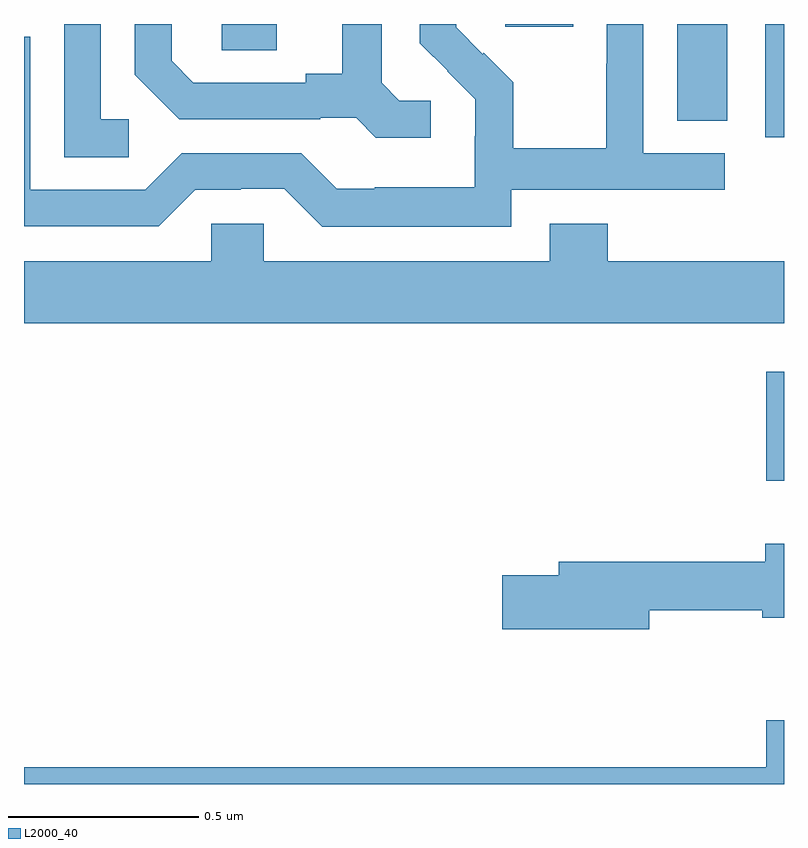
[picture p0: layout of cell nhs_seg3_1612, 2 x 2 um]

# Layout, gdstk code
import gdstk
lib = gdstk.Library(unit=1e-6, precision=1e-09)
def R(c, l, rs):  # rectangles x0, y0, x1, y1
    for r in rs: c.add(gdstk.rectangle(r[:2], r[2:], *l))
def P(c, l, *ps):  # polygons
    for p in ps: c.add(gdstk.Polygon(p, *l))
L2000_40 = (2000, 40)

nhs_seg3_1612 = lib.new_cell('nhs_seg3_1612')
R(nhs_seg3_1612, L2000_40, [(132.953,671.198,133,671.485), (132.95,672.102,133,672.4), (132.719,672.145,132.85,672.4), (131.52,672.331,131.665,672.4), (132.266,672.393,132.445,672.4)])
P(nhs_seg3_1612, L2000_40, [(132.07,672.198),(131.988,672.198),(131.941,672.245),(131.941,672.4),(131.837,672.4),(131.837,672.269),(131.741,672.269),(131.741,672.246),(131.446,672.246),(131.389,672.303),(131.389,672.4),(131.292,672.4),(131.292,672.266),(131.408,672.15),(131.78,672.15),(131.78,672.153),(131.874,672.153),(131.926,672.101),(132.07,672.101)],
  [(132.282,671.964),(132.844,671.964),(132.844,672.06),(132.63,672.06),(132.63,672.4),(132.534,672.4),(132.534,672.296),(132.532,672.296),(132.532,672.073),(132.287,672.073),(132.287,672.247),(132.21,672.324),(132.207,672.321),(132.137,672.392),(132.137,672.4),(132.042,672.4),(132.042,672.35),(132.115,672.277),(132.114,672.276),(132.188,672.202),(132.188,672.105),(132.186,672.105),(132.186,671.971),(131.923,671.971),(131.923,671.967),(131.823,671.967),(131.73,672.06),(131.415,672.06),(131.319,671.964),(131.016,671.964),(131.016,672.366),(131,672.366),(131,671.868),(131.355,671.868),(131.451,671.964),(131.57,671.964),(131.57,671.967),(131.685,671.967),(131.785,671.867),(132.282,671.867)],
  [(131.275,672.15),(131.202,672.15),(131.202,672.4),(131.106,672.4),(131.106,672.049),(131.275,672.049)],
  [(133,671.776),(132.536,671.776),(132.536,671.875),(132.383,671.875),(132.383,671.776),(131.631,671.776),(131.631,671.874),(131.493,671.874),(131.493,671.776),(131,671.776),(131,671.612),(133,671.612)],
  [(132.646,670.857),(132.943,670.857),(132.943,670.838),(133,670.838),(133,671.032),(132.95,671.032),(132.95,670.985),(132.407,670.985),(132.407,670.949),(132.258,670.949),(132.258,670.807),(132.646,670.807)],
  [(133,670.568),(132.953,670.568),(132.953,670.444),(131,670.444),(131,670.4),(133,670.4)])

lib.write_gds('nhs_seg3_1612.gds')
